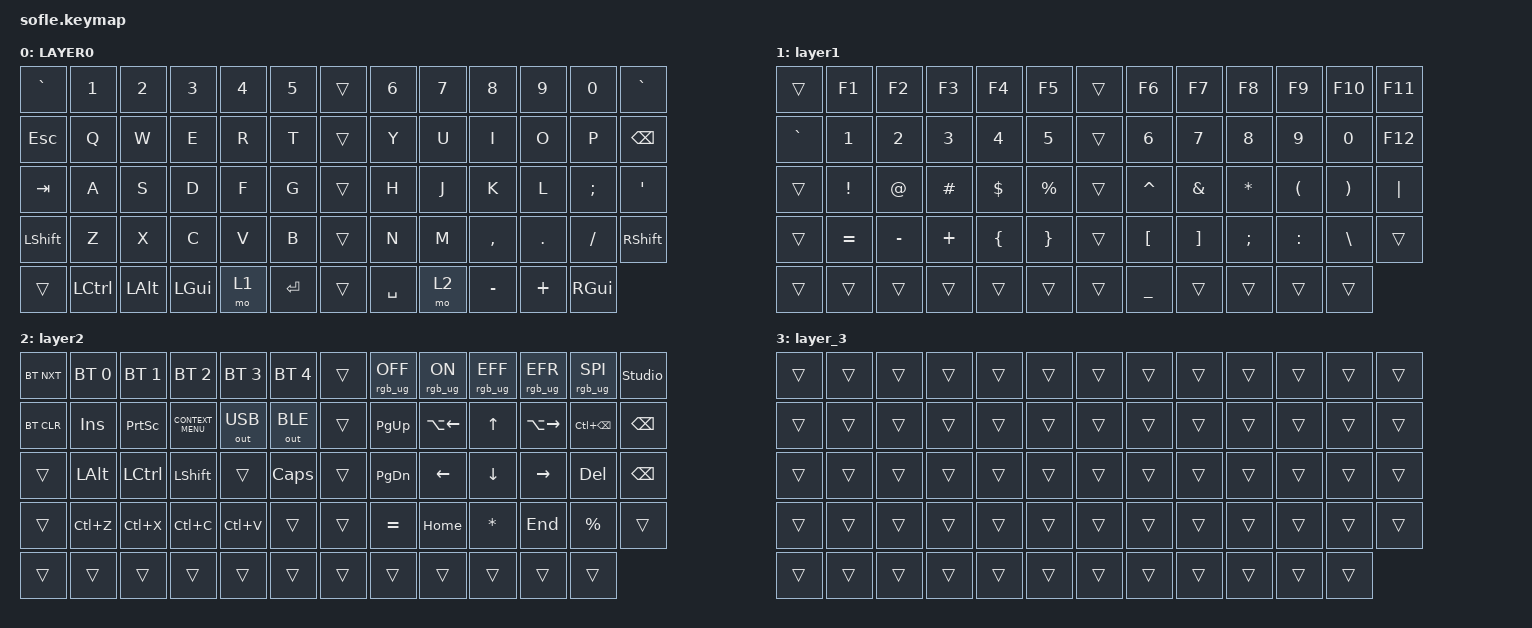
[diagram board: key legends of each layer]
#include <behaviors.dtsi>
#include <dt-bindings/zmk/bt.h>
#include <dt-bindings/zmk/ext_power.h>
#include <dt-bindings/zmk/keys.h>
#include <dt-bindings/zmk/outputs.h>
#include <dt-bindings/zmk/rgb.h>

/ {
    keymap {
        compatible = "zmk,keymap";

        layer0 {
            bindings = <
&kp GRAVE  &kp N1    &kp N2    &kp N3     &kp N4  &kp N5       &trans  &kp N6     &kp N7  &kp N8     &kp N9    &kp N0    &kp GRAVE
&kp ESC    &kp Q     &kp W     &kp E      &kp R   &kp T        &trans  &kp Y      &kp U   &kp I      &kp O     &kp P     &kp BSPC
&kp TAB    &kp A     &kp S     &kp D      &kp F   &kp G        &trans  &kp H      &kp J   &kp K      &kp L     &kp SEMI  &kp APOS
&kp LSHFT  &kp Z     &kp X     &kp C      &kp V   &kp B        &trans  &kp N      &kp M   &kp COMMA  &kp DOT   &kp FSLH  &kp RSHFT
&trans     &kp LCTRL &kp LALT  &kp LGUI   &mo 1   &kp ENTER    &trans  &kp SPACE  &mo 2   &kp MINUS  &kp PLUS  &kp RGUI
            >;

            display-name = "LAYER0";
        };

        layer_1 {
            bindings = <
&trans     &kp F1     &kp F2     &kp F3    &kp F4    &kp F5       &trans  &kp F6     &kp F7    &kp F8        &kp F9     &kp F10   &kp F11
&kp GRAVE  &kp N1     &kp N2     &kp N3    &kp N4    &kp N5       &trans  &kp N6     &kp N7    &kp N8        &kp N9     &kp N0    &kp F12
&trans     &kp EXCL   &kp AT     &kp HASH  &kp DLLR  &kp PRCNT    &trans  &kp CARET  &kp AMPS  &kp ASTERISK  &kp LPAR   &kp RPAR  &kp PIPE
&trans     &kp EQUAL  &kp MINUS  &kp PLUS  &kp LBRC  &kp RBRC     &trans  &kp LBKT   &kp RBKT  &kp SEMI      &kp COLON  &kp BSLH  &trans
&trans     &trans     &trans     &trans    &trans    &trans       &trans  &kp UNDER  &trans    &trans        &trans     &trans
            >;

            display-name = "layer1";
        };

        layer_2 {
            bindings = <
&bt BT_NXT   &bt BT_SEL 0  &bt BT_SEL 1    &bt BT_SEL 2  &bt BT_SEL 3  &bt BT_SEL 4     &trans  &rgb_ug RGB_OFF  &rgb_ug RGB_ON  &rgb_ug RGB_EFF  &rgb_ug RGB_EFR  &rgb_ug RGB_SPI &studio_unlock
&bt BT_CLR   &kp INS    &kp PRINTSCREEN  &kp K_CONTEXT_MENU  &out OUT_USB  &out OUT_BLE      &trans  &kp PG_UP  &kp LA(LEFT)  &kp UP       &kp LA(RIGHT)    &kp LC(BSPC)  &kp BSPC
&trans  &kp LALT   &kp LCTRL        &kp LSHFT           &trans     &kp CAPS    &trans  &kp PG_DN  &kp LEFT  &kp DOWN      &kp RIGHT  &kp DEL       &kp BSPC
&trans  &kp LC(Z)  &kp LC(X)        &kp LC(C)           &kp LC(V)  &trans      &trans  &kp EQUAL  &kp HOME  &kp ASTERISK  &kp END    &kp PRCNT     &trans
&trans  &trans     &trans           &trans              &trans     &trans      &trans  &trans     &trans    &trans        &trans     &trans
            >;

            display-name = "layer2";
        };

        layer_3 {
            bindings = <
&trans  &trans  &trans  &trans  &trans  &trans    &trans  &trans  &trans  &trans  &trans  &trans  &trans
&trans  &trans  &trans  &trans  &trans  &trans    &trans  &trans  &trans  &trans  &trans  &trans  &trans
&trans  &trans  &trans  &trans  &trans  &trans    &trans  &trans  &trans  &trans  &trans  &trans  &trans
&trans  &trans  &trans  &trans  &trans  &trans    &trans  &trans  &trans  &trans  &trans  &trans  &trans
&trans  &trans  &trans  &trans  &trans  &trans    &trans  &trans  &trans  &trans  &trans  &trans
            >;
        };
    };
};
